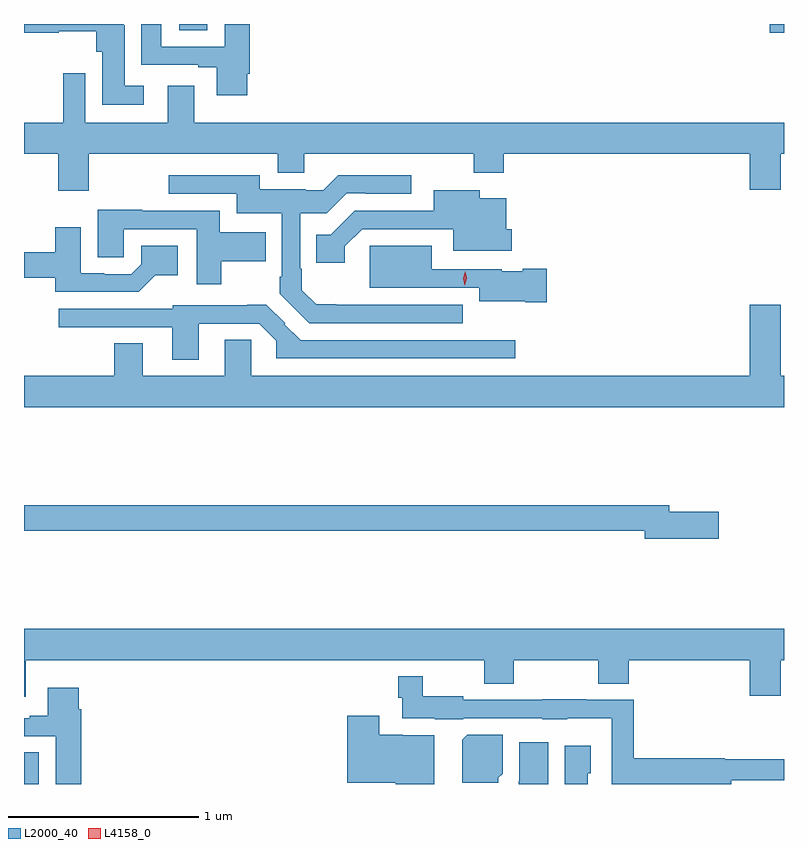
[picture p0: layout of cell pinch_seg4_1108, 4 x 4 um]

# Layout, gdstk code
import gdstk
lib = gdstk.Library(unit=1e-6, precision=1e-09)
def R(c, l, rs):  # rectangles x0, y0, x1, y1
    for r in rs: c.add(gdstk.rectangle(r[:2], r[2:], *l))
def P(c, l, *ps):  # polygons
    for p in ps: c.add(gdstk.Polygon(p, *l))
L2000_40 = (2000, 40)
L4158_0 = (4158, 0)

pinch_seg4_1108 = lib.new_cell('pinch_seg4_1108')
R(pinch_seg4_1108, L2000_40, [(448.901,824.14,448.978,824.306), (452.826,828.094,452.901,828.14), (449.717,828.106,449.866,828.14)])
P(pinch_seg4_1108, L2000_40, [(450.076,827.878),(450.089,827.878),(450.089,828.14),(449.957,828.14),(449.957,828.021),(449.623,828.021),(449.623,828.14),(449.519,828.14),(449.519,827.925),(449.819,827.925),(449.819,827.913),(449.915,827.913),(449.915,827.766),(450.076,827.766)],
  [(449.53,827.815),(449.431,827.815),(449.431,828.134),(449.427,828.134),(449.427,828.14),(448.901,828.14),(448.901,828.094),(449.083,828.094),(449.083,828.101),(449.282,828.101),(449.282,827.994),(449.312,827.994),(449.312,827.714),(449.53,827.714)],
  [(449.657,827.815),(449.657,827.62),(449.223,827.62),(449.223,827.881),(449.107,827.881),(449.107,827.62),(448.901,827.62),(448.901,827.456),(449.081,827.456),(449.081,827.262),(449.241,827.262),(449.241,827.456),(450.236,827.456),(450.236,827.357),(450.376,827.357),(450.376,827.456),(451.267,827.456),(451.267,827.357),(451.427,827.357),(451.427,827.456),(452.72,827.456),(452.72,827.268),(452.884,827.268),(452.884,827.456),(452.901,827.456),(452.901,827.62),(449.797,827.62),(449.797,827.815)],
  [(451.21,826.662),(450.544,826.662),(450.544,826.665),(450.44,826.665),(450.364,826.74),(450.364,826.852),(450.354,826.852),(450.354,827.145),(450.495,827.145),(450.6,827.25),(450.7,827.25),(450.7,827.247),(450.94,827.247),(450.94,827.344),(450.556,827.344),(450.477,827.265),(450.383,827.265),(450.383,827.269),(450.142,827.269),(450.142,827.343),(449.664,827.343),(449.664,827.247),(450.02,827.247),(450.02,827.144),(450.258,827.144),(450.258,826.81),(450.246,826.81),(450.246,826.721),(450.401,826.566),(451.21,826.566)],
  [(450.589,826.969),(450.681,827.061),(451.16,827.061),(451.16,826.946),(451.468,826.946),(451.468,827.06),(451.438,827.06),(451.438,827.224),(451.3,827.224),(451.3,827.266),(451.058,827.266),(451.058,827.157),(450.641,827.157),(450.516,827.032),(450.439,827.032),(450.439,826.884),(450.589,826.884)],
  [(449.94,826.892),(450.173,826.892),(450.173,827.044),(449.932,827.044),(449.932,827.157),(449.524,827.157),(449.524,827.162),(449.288,827.162),(449.288,826.912),(449.427,826.912),(449.427,827.061),(449.81,827.061),(449.81,826.77),(449.94,826.77)],
  [(449.592,826.817),(449.71,826.817),(449.71,826.972),(449.517,826.972),(449.517,826.875),(449.466,826.824),(449.324,826.824),(449.324,826.827),(449.2,826.827),(449.2,827.071),(449.066,827.071),(449.066,826.94),(448.901,826.94),(448.901,826.804),(449.066,826.804),(449.066,826.731),(449.506,826.731)],
  [(451.651,826.853),(451.527,826.853),(451.527,826.84),(451.416,826.84),(451.416,826.848),(451.048,826.848),(451.048,826.972),(450.722,826.972),(450.722,826.751),(450.944,826.751),(450.944,826.752),(451.298,826.752),(451.298,826.682),(451.538,826.682),(451.538,826.675),(451.651,826.675)],
  [(452.901,826.288),(452.884,826.288),(452.884,826.663),(452.72,826.663),(452.72,826.288),(450.096,826.288),(450.096,826.478),(449.957,826.478),(449.957,826.288),(449.527,826.288),(449.527,826.46),(449.375,826.46),(449.375,826.288),(448.901,826.288),(448.901,826.124),(452.901,826.124)],
  [(449.821,826.563),(450.138,826.563),(450.229,826.473),(450.229,826.38),(451.486,826.38),(451.486,826.476),(450.357,826.476),(450.272,826.561),(450.275,826.564),(450.177,826.662),(450.077,826.662),(450.077,826.659),(449.685,826.659),(449.685,826.641),(449.085,826.641),(449.085,826.545),(449.681,826.545),(449.681,826.374),(449.821,826.374)],
  [(452.557,825.572),(452.296,825.572),(452.296,825.608),(448.901,825.608),(448.901,825.472),(452.168,825.472),(452.168,825.43),(452.557,825.43)],
  [(448.909,824.792),(451.324,824.792),(451.324,824.668),(451.479,824.668),(451.479,824.792),(451.924,824.792),(451.924,824.668),(452.084,824.668),(452.084,824.792),(452.72,824.792),(452.72,824.604),(452.884,824.604),(452.884,824.792),(452.901,824.792),(452.901,824.956),(448.901,824.956),(448.901,824.598),(448.909,824.598)],
  [(452.624,824.159),(452.901,824.159),(452.901,824.269),(452.588,824.269),(452.588,824.276),(452.111,824.276),(452.111,824.583),(451.861,824.583),(451.861,824.585),(451.629,824.585),(451.629,824.583),(451.212,824.583),(451.212,824.602),(451,824.602),(451,824.707),(450.871,824.707),(450.871,824.594),(450.891,824.594),(450.891,824.486),(451.062,824.486),(451.062,824.48),(451.212,824.48),(451.212,824.487),(451.629,824.487),(451.629,824.48),(451.761,824.48),(451.761,824.486),(451.995,824.486),(451.995,824.14),(452.624,824.14)],
  [(449.201,824.534),(449.188,824.534),(449.188,824.647),(449.027,824.647),(449.027,824.5),(448.931,824.5),(448.931,824.487),(448.901,824.487),(448.901,824.391),(449.069,824.391),(449.069,824.14),(449.201,824.14)],
  [(451.06,824.396),(450.894,824.396),(450.894,824.398),(450.772,824.398),(450.772,824.5),(450.602,824.5),(450.602,824.147),(450.858,824.147),(450.858,824.14),(451.06,824.14)],
  [(451.398,824.172),(451.42,824.194),(451.42,824.398),(451.234,824.398),(451.208,824.372),(451.208,824.147),(451.398,824.147)],
  [(451.66,824.359),(451.508,824.359),(451.508,824.154),(451.504,824.154),(451.504,824.14),(451.66,824.14)],
  [(451.867,824.196),(451.885,824.196),(451.885,824.341),(451.748,824.341),(451.748,824.14),(451.867,824.14)])
P(pinch_seg4_1108, L4158_0, [(451.22,826.766),(451.22,826.766),(451.212,826.802),(451.224,826.837),(451.224,826.838),(451.224,826.837),(451.232,826.801),(451.22,826.766)])

lib.write_gds('pinch_seg4_1108.gds')
